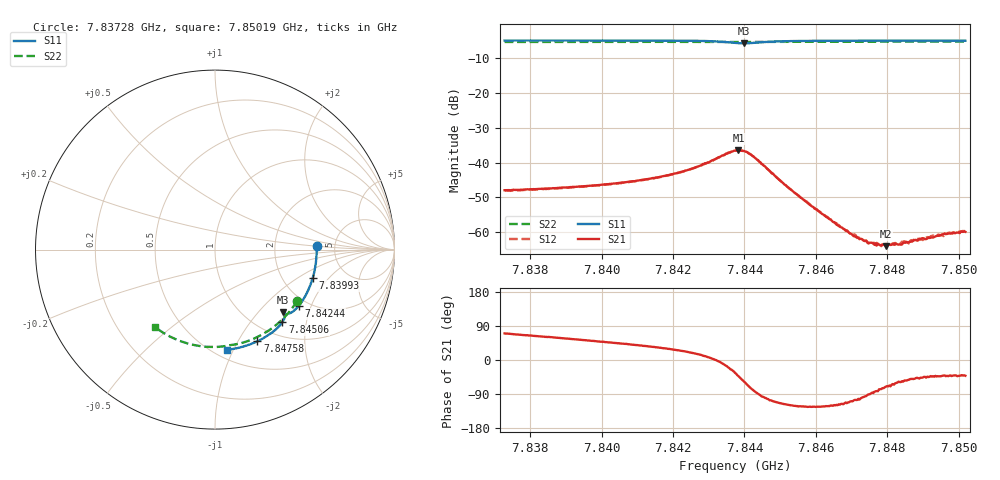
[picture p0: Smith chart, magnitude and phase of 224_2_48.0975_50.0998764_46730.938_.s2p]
#  HZ  S  RI  R  50.00
! Rohde & Schwarz Vector Network Analyzer
! Rohde-Schwarz,ZNB20-2Port,1311601062101988,3.16
! Created: UTC 12/23/2023, 3:57:06 AM
! freq[Hz]  re:S11  im:S11  re:S21  im:S21  re:S12  im:S12  re:S22  im:S22
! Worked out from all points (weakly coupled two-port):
!   401 points, 7.83728 GHz to 7.85019 GHz, reference 50 ohm
!   highest |S21| = -36.47 dB at 7.84383 GHz (marker M1); lowest = -64.0 dB at 7.84796 GHz (marker M2)
!   lowest |S11| = -5.8 dB at 7.84399 GHz (marker M3), VSWR 3.13, Z = 72.6 - j68.8 ohm
!   |S11| at or under -10 dB: nowhere
!   |S22| runs from -5.4 to -5.3 dB; largest |S21 - S12| = 0.00041
!   S11 on the Smith chart (normalised r, x): 7.83728 GHz: 3.60, +0.19; 7.83993 GHz: 2.92, -1.35; 7.84244 GHz: 1.79, -1.64; 7.84506 GHz: 1.25, -1.46; 7.84758 GHz: 0.81, -1.21; 7.85019 GHz: 0.58, -0.95
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7.837279e9  0.5662 0.0176  0.00136 0.00376  0.00136 0.00369  0.4573 -0.2866
7.839442e9  0.5528 -0.1257  0.00274 0.00363  0.00267 0.0036  0.3605 -0.4028
7.839926e9  0.5446 -0.1572  0.00311 0.00357  0.00306 0.00354  0.3344 -0.4247
7.841605e9  0.5005 -0.2632  0.0052 0.00333  0.00515 0.00335  0.2351 -0.4876
7.842444e9  0.4664 -0.3135  0.00739 0.00275  0.00736 0.00283  0.1806 -0.5104
7.843735e9  0.3838 -0.3556  0.0123 -0.00824  0.0122 -0.0082  0.0935 -0.5309
7.843832e9  0.3804 -0.3524  0.011 -0.0102  0.0111 -0.01  0.0872 -0.5318
7.843993e9  0.38 -0.348  0.00785 -0.0124  0.00778 -0.0123  0.0772 -0.5335
7.844252e9  0.3873 -0.352  0.002 -0.0121  0.00224 -0.0119  0.0607 -0.5366
7.845059e9  0.3752 -0.4048  -0.0022 -0.0047  -0.00221 -0.00471  0.0046 -0.5426
7.845898e9  0.3337 -0.4492  -0.00129 -0.00194  -0.00132 -0.00202  -0.0548 -0.5409
7.846996e9  0.2715 -0.4926  -0.000303 -0.000894  -0.000333 -0.000877  -0.1308 -0.5282
7.847318e9  0.2522 -0.503  -0.000109 -0.000762  -0.000125 -0.000764  -0.1529 -0.5226
7.847577e9  0.2366 -0.5107  4.86e-05 -0.000698  3.06e-05 -0.00067  -0.1702 -0.5175
7.847803e9  0.2226 -0.517  0.000144 -0.000633  0.00011 -0.000644  -0.1851 -0.5123
7.847964e9  0.2128 -0.5212  0.000213 -0.000591  0.000222 -0.000638  -0.1959 -0.5084
7.848061e9  0.2066 -0.5238  0.000253 -0.000607  0.000238 -0.000602  -0.2022 -0.506
7.848351e9  0.1883 -0.5305  0.000352 -0.000567  0.000343 -0.000577  -0.2211 -0.4984
7.848965e9  0.1491 -0.5428  0.000553 -0.000584  0.000559 -0.000588  -0.2598 -0.4795
7.849288e9  0.1283 -0.5479  0.000614 -0.000567  0.000641 -0.00062  -0.2794 -0.4686
7.84961e9  0.1074 -0.5524  0.000724 -0.000624  0.000697 -0.000608  -0.2989 -0.4568
7.850192e9  0.0691 -0.5582  0.000754 -0.00067  0.000774 -0.0007  -0.3322 -0.4334
